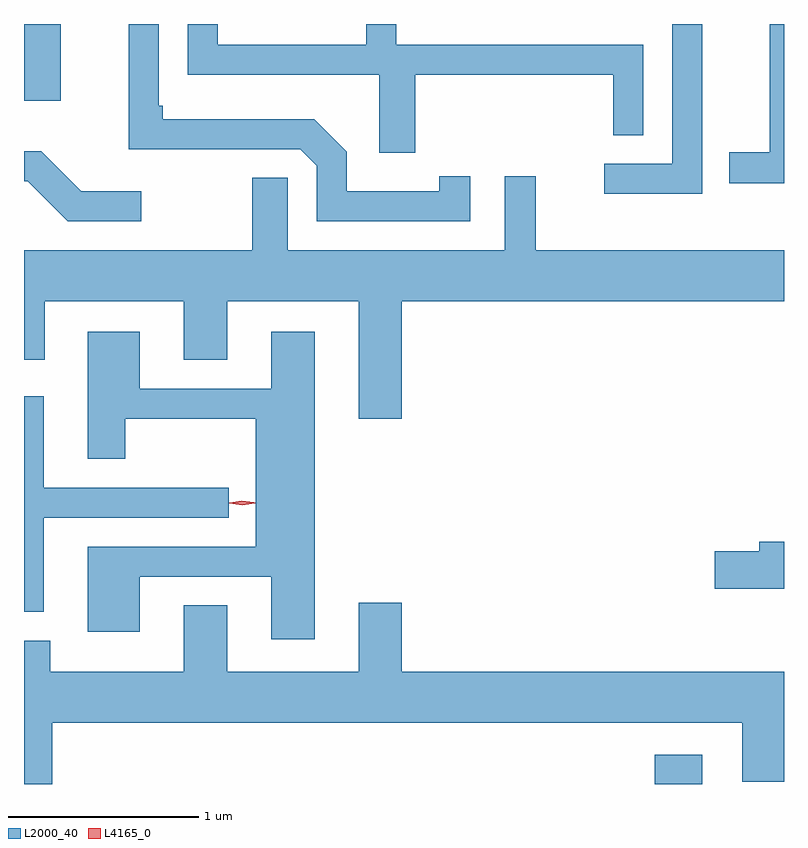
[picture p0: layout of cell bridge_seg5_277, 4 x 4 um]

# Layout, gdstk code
import gdstk
lib = gdstk.Library(unit=1e-6, precision=1e-09)
def R(c, l, rs):  # rectangles x0, y0, x1, y1
    for r in rs: c.add(gdstk.rectangle(r[:2], r[2:], *l))
def P(c, l, *ps):  # polygons
    for p in ps: c.add(gdstk.Polygon(p, *l))
L2000_40 = (2000, 40)
L4165_0 = (4165, 0)

bridge_seg5_277 = lib.new_cell('bridge_seg5_277')
R(bridge_seg5_277, L2000_40, [(766.251,1485.334,766.499,1485.489), (762.93,1488.931,763.124,1489.334)])
P(bridge_seg5_277, L2000_40, [(764.989,1489.066),(766.031,1489.066),(766.031,1488.748),(766.189,1488.748),(766.189,1489.224),(764.889,1489.224),(764.889,1489.334),(764.731,1489.334),(764.731,1489.224),(763.949,1489.224),(763.949,1489.333),(763.791,1489.333),(763.791,1489.066),(764.801,1489.066),(764.801,1488.656),(764.989,1488.656)],
  [(766.499,1489.334),(766.341,1489.334),(766.341,1488.599),(765.983,1488.599),(765.983,1488.441),(766.499,1488.441)],
  [(765.279,1488.533),(765.116,1488.533),(765.116,1488.454),(764.629,1488.454),(764.629,1488.662),(764.457,1488.834),(763.659,1488.834),(763.659,1488.904),(763.639,1488.904),(763.639,1489.334),(763.481,1489.334),(763.481,1488.676),(764.384,1488.676),(764.471,1488.589),(764.471,1488.296),(765.279,1488.296)],
  [(766.93,1489.334),(766.856,1489.334),(766.856,1488.659),(766.643,1488.659),(766.643,1488.496),(766.93,1488.496)],
  [(763.548,1488.454),(763.232,1488.454),(763.022,1488.664),(762.93,1488.664),(762.93,1488.506),(762.949,1488.506),(763.159,1488.296),(763.548,1488.296)],
  [(764.919,1487.876),(766.93,1487.876),(766.93,1488.144),(765.624,1488.144),(765.624,1488.533),(765.461,1488.533),(765.461,1488.144),(764.319,1488.144),(764.319,1488.524),(764.131,1488.524),(764.131,1488.144),(762.93,1488.144),(762.93,1487.566),(763.039,1487.566),(763.039,1487.876),(763.771,1487.876),(763.771,1487.566),(763.999,1487.566),(763.999,1487.876),(764.691,1487.876),(764.691,1487.256),(764.919,1487.256)],
  [(764.459,1487.714),(764.231,1487.714),(764.231,1487.414),(763.539,1487.414),(763.539,1487.714),(763.266,1487.714),(763.266,1487.046),(763.464,1487.046),(763.464,1487.256),(764.151,1487.256),(764.151,1486.584),(763.266,1486.584),(763.266,1486.136),(763.539,1486.136),(763.539,1486.426),(764.231,1486.426),(764.231,1486.096),(764.459,1486.096)],
  [(763.034,1486.736),(764.008,1486.736),(764.008,1486.894),(763.034,1486.894),(763.034,1487.374),(762.93,1487.374),(762.93,1486.241),(763.034,1486.241)],
  [(766.93,1486.609),(766.801,1486.609),(766.801,1486.559),(766.566,1486.559),(766.566,1486.361),(766.93,1486.361)],
  [(763.079,1485.656),(766.711,1485.656),(766.711,1485.346),(766.93,1485.346),(766.93,1485.924),(764.919,1485.924),(764.919,1486.289),(764.691,1486.289),(764.691,1485.924),(763.999,1485.924),(763.999,1486.274),(763.771,1486.274),(763.771,1485.924),(763.069,1485.924),(763.069,1486.089),(762.93,1486.089),(762.93,1485.334),(763.079,1485.334)])
P(bridge_seg5_277, L4165_0, [(764.078,1486.802),(764.01,1486.812),(764.009,1486.813),(764.01,1486.813),(764.078,1486.822),(764.146,1486.813),(764.146,1486.812),(764.146,1486.812)],
  [(764.076,1486.806),(764.013,1486.814),(764.013,1486.815),(764.013,1486.815),(764.076,1486.826),(764.139,1486.818),(764.14,1486.817),(764.139,1486.816)])

lib.write_gds('bridge_seg5_277.gds')
